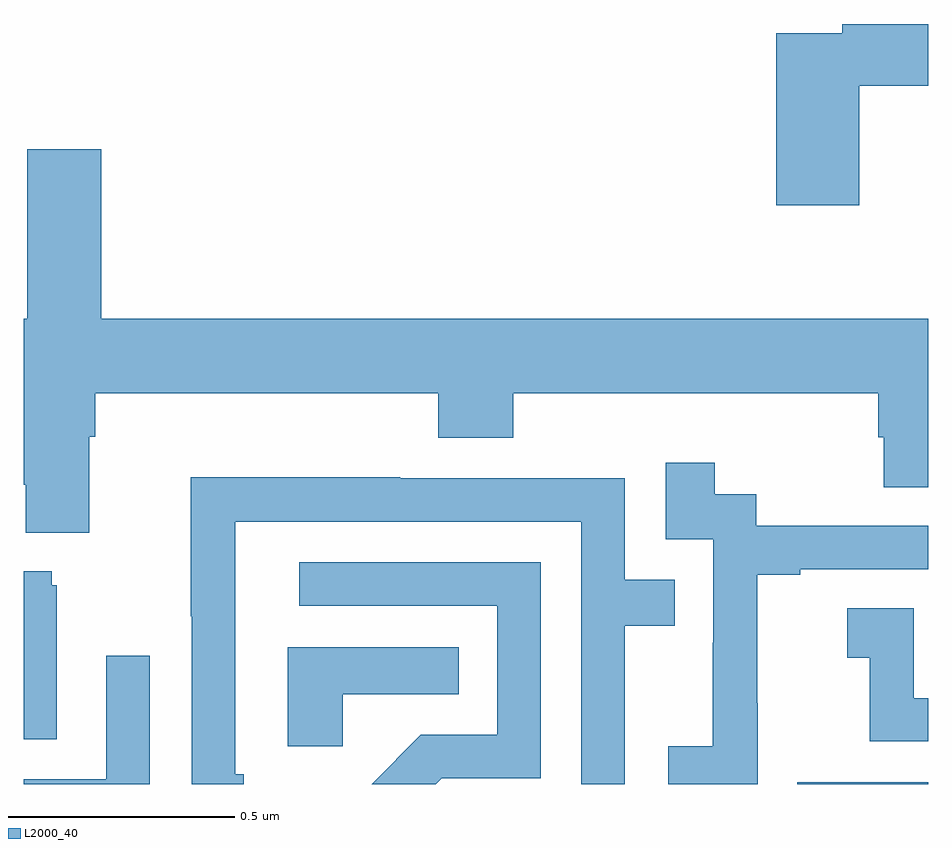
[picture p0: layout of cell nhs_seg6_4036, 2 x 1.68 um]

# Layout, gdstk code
import gdstk
lib = gdstk.Library(unit=1e-6, precision=1e-09)
def R(c, l, rs):  # rectangles x0, y0, x1, y1
    for r in rs: c.add(gdstk.rectangle(r[:2], r[2:], *l))
def P(c, l, *ps):  # polygons
    for p in ps: c.add(gdstk.Polygon(p, *l))
L2000_40 = (2000, 40)

nhs_seg6_4036 = lib.new_cell('nhs_seg6_4036')
R(nhs_seg6_4036, L2000_40, [(166.71,918.5,167,918.504)])
P(nhs_seg6_4036, L2000_40, [(166.847,920.044),(167,920.044),(167,920.18),(166.81,920.18),(166.81,920.16),(166.664,920.16),(166.664,919.779),(166.847,919.779)],
  [(165.145,919.268),(165.158,919.268),(165.158,919.364),(165.917,919.364),(165.917,919.265),(166.082,919.265),(166.082,919.364),(166.889,919.364),(166.889,919.266),(166.901,919.266),(166.901,919.156),(167,919.156),(167,919.528),(165.172,919.528),(165.172,919.903),(165.008,919.903),(165.008,919.528),(165,919.528),(165,919.162),(165.005,919.162),(165.005,919.055),(165.145,919.055)],
  [(166.623,918.679),(166.622,918.679),(166.622,918.963),(166.717,918.963),(166.717,918.975),(167,918.975),(167,919.071),(166.62,919.071),(166.62,919.14),(166.528,919.14),(166.528,919.21),(166.419,919.21),(166.419,919.041),(166.524,919.041),(166.524,918.812),(166.523,918.812),(166.523,918.583),(166.425,918.583),(166.425,918.5),(166.623,918.5)],
  [(165.487,918.522),(165.468,918.522),(165.468,919.08),(166.233,919.08),(166.233,918.5),(166.329,918.5),(166.329,918.85),(166.439,918.85),(166.439,918.951),(166.329,918.951),(166.329,919.176),(165.833,919.176),(165.833,919.178),(165.37,919.178),(165.37,918.871),(165.372,918.871),(165.372,918.5),(165.487,918.5)],
  [(165.924,918.513),(166.143,918.513),(166.143,918.99),(165.609,918.99),(165.609,918.894),(166.047,918.894),(166.047,918.609),(165.878,918.609),(165.769,918.5),(165.911,918.5)],
  [(165.073,918.939),(165.062,918.939),(165.062,918.97),(165,918.97),(165,918.599),(165.073,918.599)],
  [(167,918.69),(166.968,918.69),(166.968,918.889),(166.821,918.889),(166.821,918.779),(166.87,918.779),(166.87,918.594),(167,918.594)],
  [(165.705,918.698),(165.962,918.698),(165.962,918.802),(165.584,918.802),(165.584,918.583),(165.705,918.583)],
  [(165.279,918.784),(165.183,918.784),(165.183,918.51),(165,918.51),(165,918.5),(165.279,918.5)])

lib.write_gds('nhs_seg6_4036.gds')
